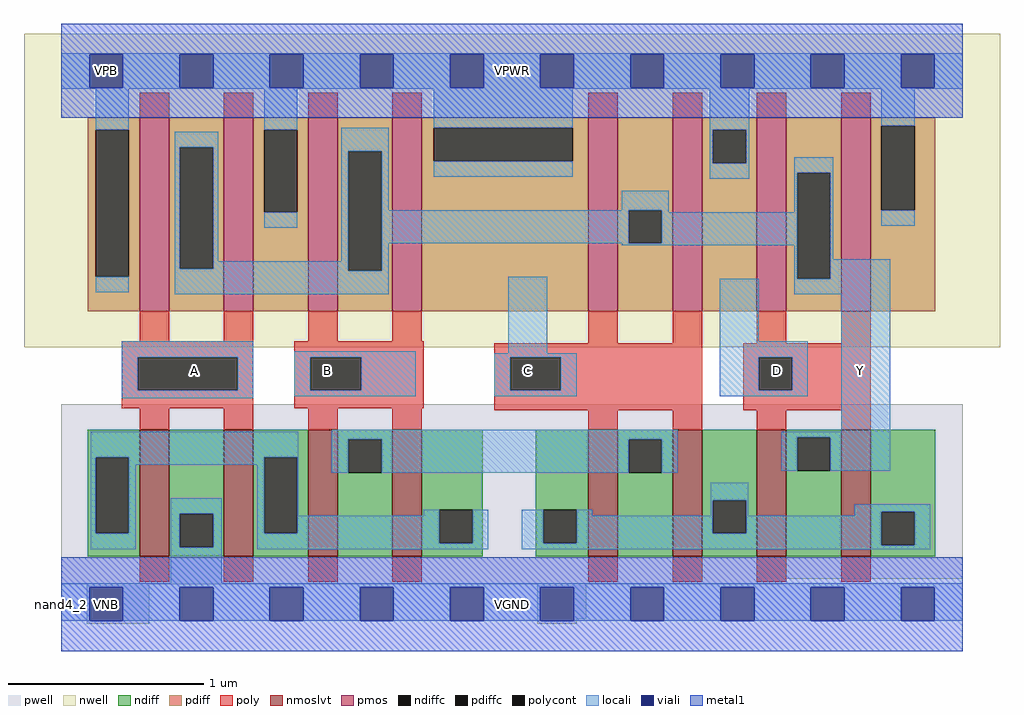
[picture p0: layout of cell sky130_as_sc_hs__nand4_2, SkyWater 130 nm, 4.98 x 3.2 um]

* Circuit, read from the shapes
.subckt sky130_as_sc_hs__nand4_2 VNB VPWR VGND VPB A B C Y D
XM1 VGND A n1 VNB sky130_fd_pr__nfet_01v8_lvt w=0.645 l=0.15 m=2
XM2 n2 B n1 VNB sky130_fd_pr__nfet_01v8_lvt w=0.645 l=0.15 m=2
XM3 n2 C n3 VNB sky130_fd_pr__nfet_01v8_lvt w=0.645 l=0.15 m=2
XM4 Y D n3 VNB sky130_fd_pr__nfet_01v8_lvt w=0.645 l=0.15 m=2
XM5 Y A VPWR VPB sky130_fd_pr__pfet_01v8 w=0.985 l=0.15 m=2
XM6 Y B VPWR VPB sky130_fd_pr__pfet_01v8 w=0.985 l=0.15 m=2
XM7 Y C VPWR VPB sky130_fd_pr__pfet_01v8 w=0.985 l=0.15 m=2
XM8 Y D VPWR VPB sky130_fd_pr__pfet_01v8 w=0.985 l=0.15 m=2
.ends

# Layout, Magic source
magic
tech sky130A
magscale 1 2
<< nwell >>
rect -38 262 958 582
<< pwell >>
rect 0 26 920 204
rect 0 20 736 26
rect 26 -20 90 20
rect 486 -15 536 20
rect 486 -20 526 -15
<< pmos >>
rect 80 299 110 496
rect 166 299 196 496
rect 252 299 282 496
rect 338 299 368 496
rect 538 299 568 496
rect 624 299 654 496
rect 710 299 740 496
rect 796 299 826 496
<< nmoslvt >>
rect 80 49 110 178
rect 166 49 196 178
rect 252 49 282 178
rect 338 49 368 178
rect 538 49 568 178
rect 624 49 654 178
rect 710 49 740 178
rect 796 49 826 178
<< ndiff >>
rect 27 150 80 178
rect 27 72 35 150
rect 69 72 80 150
rect 27 49 80 72
rect 110 92 166 178
rect 110 58 121 92
rect 155 58 166 92
rect 110 49 166 58
rect 196 150 252 178
rect 196 72 207 150
rect 241 72 252 150
rect 196 49 252 72
rect 282 168 338 178
rect 282 134 293 168
rect 327 134 338 168
rect 282 49 338 134
rect 368 96 430 178
rect 368 62 386 96
rect 420 62 430 96
rect 368 49 430 62
rect 484 96 538 178
rect 484 62 492 96
rect 526 62 538 96
rect 484 49 538 62
rect 568 168 624 178
rect 568 134 579 168
rect 613 134 624 168
rect 568 49 624 134
rect 654 106 710 178
rect 654 72 665 106
rect 699 72 710 106
rect 654 49 710 72
rect 740 170 796 178
rect 740 136 751 170
rect 785 136 796 170
rect 740 49 796 136
rect 826 94 892 178
rect 826 60 837 94
rect 871 60 892 94
rect 826 49 892 60
<< pdiff >>
rect 27 484 80 496
rect 27 334 35 484
rect 69 334 80 484
rect 27 299 80 334
rect 110 466 166 496
rect 110 342 121 466
rect 155 342 166 466
rect 110 299 166 342
rect 196 484 252 496
rect 196 400 207 484
rect 241 400 252 484
rect 196 299 252 400
rect 282 462 338 496
rect 282 340 293 462
rect 327 340 338 462
rect 282 299 338 340
rect 368 486 538 496
rect 368 452 380 486
rect 522 452 538 486
rect 368 299 538 452
rect 568 402 624 496
rect 568 368 579 402
rect 613 368 624 402
rect 568 299 624 368
rect 654 484 710 496
rect 654 450 665 484
rect 699 450 710 484
rect 654 299 710 450
rect 740 440 796 496
rect 740 332 751 440
rect 785 332 796 440
rect 740 299 796 332
rect 826 488 892 496
rect 826 402 837 488
rect 871 402 892 488
rect 826 299 892 402
<< ndiffc >>
rect 35 72 69 150
rect 121 58 155 92
rect 207 72 241 150
rect 293 134 327 168
rect 386 62 420 96
rect 492 62 526 96
rect 579 134 613 168
rect 665 72 699 106
rect 751 136 785 170
rect 837 60 871 94
<< pdiffc >>
rect 35 334 69 484
rect 121 342 155 466
rect 207 400 241 484
rect 293 340 327 462
rect 380 452 522 486
rect 579 368 613 402
rect 665 450 699 484
rect 751 332 785 440
rect 837 402 871 488
<< poly >>
rect 80 496 110 522
rect 166 496 196 522
rect 252 496 282 522
rect 338 496 368 522
rect 538 496 568 522
rect 624 496 654 522
rect 710 496 740 522
rect 796 496 826 522
rect 80 268 110 299
rect 166 268 196 299
rect 252 268 282 299
rect 338 268 368 299
rect 62 252 196 268
rect 62 218 78 252
rect 180 218 196 252
rect 62 200 196 218
rect 238 252 370 268
rect 538 266 568 299
rect 624 266 654 299
rect 710 266 740 299
rect 796 266 826 299
rect 238 218 254 252
rect 306 218 370 252
rect 238 200 370 218
rect 442 252 654 266
rect 442 218 458 252
rect 510 218 654 252
rect 80 178 110 200
rect 166 178 196 200
rect 252 178 282 200
rect 338 178 368 200
rect 442 198 654 218
rect 696 252 826 266
rect 696 218 712 252
rect 746 218 826 252
rect 696 198 826 218
rect 538 178 568 198
rect 624 178 654 198
rect 710 178 740 198
rect 796 178 826 198
rect 80 23 110 49
rect 166 23 196 49
rect 252 23 282 49
rect 338 23 368 49
rect 538 23 568 49
rect 624 23 654 49
rect 710 23 740 49
rect 796 23 826 49
<< polycont >>
rect 78 218 180 252
rect 254 218 306 252
rect 458 218 510 252
rect 712 218 746 252
<< locali >>
rect 0 561 920 562
rect 0 527 29 561
rect 63 527 121 561
rect 155 527 213 561
rect 247 527 305 561
rect 339 527 397 561
rect 431 527 489 561
rect 523 527 581 561
rect 615 527 673 561
rect 707 527 765 561
rect 799 527 857 561
rect 891 527 920 561
rect 0 526 920 527
rect 35 484 69 526
rect 207 484 241 526
rect 380 486 522 526
rect 35 318 69 334
rect 116 466 160 482
rect 116 342 121 466
rect 155 350 160 466
rect 207 384 241 400
rect 286 462 334 486
rect 286 350 293 462
rect 155 342 293 350
rect 116 340 293 342
rect 327 402 334 462
rect 380 436 522 452
rect 662 484 702 526
rect 662 450 665 484
rect 699 450 702 484
rect 837 488 871 526
rect 662 434 702 450
rect 748 440 788 456
rect 572 402 620 422
rect 327 368 579 402
rect 613 400 620 402
rect 748 400 751 440
rect 613 368 751 400
rect 327 340 334 368
rect 572 366 751 368
rect 116 316 334 340
rect 62 252 196 268
rect 62 218 78 252
rect 180 218 196 252
rect 62 210 196 218
rect 238 252 362 258
rect 456 256 496 334
rect 748 332 751 366
rect 785 352 788 440
rect 837 386 871 402
rect 785 332 846 352
rect 672 268 712 332
rect 748 316 846 332
rect 238 218 254 252
rect 306 218 362 252
rect 238 212 362 218
rect 442 252 526 256
rect 442 218 458 252
rect 510 218 526 252
rect 442 212 526 218
rect 672 252 762 268
rect 672 218 712 252
rect 746 218 762 252
rect 672 212 762 218
rect 30 150 242 176
rect 30 72 35 150
rect 69 142 207 150
rect 69 72 76 142
rect 30 56 76 72
rect 112 92 164 108
rect 112 58 121 92
rect 155 58 164 92
rect 112 21 164 58
rect 200 72 207 142
rect 241 90 242 150
rect 276 168 629 178
rect 796 176 846 316
rect 276 134 293 168
rect 327 134 579 168
rect 613 134 629 168
rect 735 170 846 176
rect 735 136 751 170
rect 785 136 846 170
rect 663 106 701 124
rect 370 90 386 96
rect 241 72 386 90
rect 200 62 386 72
rect 420 62 436 96
rect 200 56 436 62
rect 470 62 492 96
rect 526 90 542 96
rect 663 90 665 106
rect 526 72 665 90
rect 699 90 701 106
rect 810 94 887 102
rect 810 90 837 94
rect 699 72 837 90
rect 526 62 837 72
rect 470 60 837 62
rect 871 60 887 94
rect 470 56 887 60
rect 0 17 920 21
rect 0 -17 29 17
rect 63 -17 121 17
rect 155 -17 213 17
rect 247 -17 305 17
rect 339 -17 397 17
rect 431 -17 489 17
rect 523 -17 581 17
rect 615 -17 673 17
rect 707 -17 765 17
rect 799 -17 857 17
rect 891 -17 920 17
<< viali >>
rect 29 527 63 561
rect 121 527 155 561
rect 213 527 247 561
rect 305 527 339 561
rect 397 527 431 561
rect 489 527 523 561
rect 581 527 615 561
rect 673 527 707 561
rect 765 527 799 561
rect 857 527 891 561
rect 29 -17 63 17
rect 121 -17 155 17
rect 213 -17 247 17
rect 305 -17 339 17
rect 397 -17 431 17
rect 489 -17 523 17
rect 581 -17 615 17
rect 673 -17 707 17
rect 765 -17 799 17
rect 857 -17 891 17
<< metal1 >>
rect 0 561 920 592
rect 0 527 29 561
rect 63 527 121 561
rect 155 527 213 561
rect 247 527 305 561
rect 339 527 397 561
rect 431 527 489 561
rect 523 527 581 561
rect 615 527 673 561
rect 707 527 765 561
rect 799 527 857 561
rect 891 527 920 561
rect 0 496 920 527
rect 0 17 920 48
rect 0 -17 29 17
rect 63 -17 121 17
rect 155 -17 213 17
rect 247 -17 305 17
rect 339 -17 397 17
rect 431 -17 489 17
rect 523 -17 581 17
rect 615 -17 673 17
rect 707 -17 765 17
rect 799 -17 857 17
rect 891 -17 920 17
rect 0 -48 920 -17
<< labels >>
rlabel comment s 0 0 0 0 4 nand4_2
flabel pwell s 29 -17 63 17 0 FreeSans 200 0 0 0 VNB
port 1 nsew ground bidirectional
flabel pwell s 46 0 46 0 0 FreeSans 200 0 0 0 VNB
flabel nwell s 29 527 63 561 0 FreeSans 200 0 0 0 VPB
port 4 nsew power bidirectional
flabel nwell s 46 544 46 544 0 FreeSans 200 0 0 0 VPB
flabel metal1 s 29 527 63 561 0 FreeSans 200 0 0 0 VPWR
port 2 nsew power bidirectional abutment
flabel metal1 s 29 -17 63 17 0 FreeSans 200 0 0 0 VGND
port 3 nsew ground bidirectional abutment
rlabel metal1 s 0 -48 920 48 1 VGND
port 3 nsew ground bidirectional abutment
rlabel metal1 s 0 496 920 592 1 VPWR
port 2 nsew power bidirectional abutment
flabel locali 119 221 153 255 0 FreeSans 200 0 0 0 A
port 5 nsew signal input
flabel locali 136 238 136 238 0 FreeSans 200 0 0 0 A
flabel locali 255 221 289 255 0 FreeSans 200 0 0 0 B
port 6 nsew signal input
flabel locali 272 238 272 238 0 FreeSans 200 0 0 0 B
flabel locali 459 221 493 255 0 FreeSans 200 0 0 0 C
port 7 nsew signal input
flabel polycont 476 238 476 238 0 FreeSans 200 0 0 0 C
flabel locali 799 221 833 255 0 FreeSans 200 0 0 0 Y
port 8 nsew signal output
flabel locali 816 238 816 238 0 FreeSans 200 0 0 0 Y
flabel locali 714 221 748 255 0 FreeSans 200 0 0 0 D
port 9 nsew signal input
flabel locali 731 238 731 238 0 FreeSans 200 0 0 0 D
<< properties >>
string FIXED_BBOX 0 0 920 544
string GDS_FILE $PDKPATH/libs.ref/sky130_as_sc_hs/gds/sky130_as_sc_hs__nand4_2.gds
string LEFclass CORE
string LEFsite unithd
string LEFsymmetry X Y R90
string MASKHINTS_LVTN 0 -4 920 216
string MASKHINTS_NSDM 0 -38 920 204
string MASKHINTS_PSDM 0 272 920 582
<< end >>
